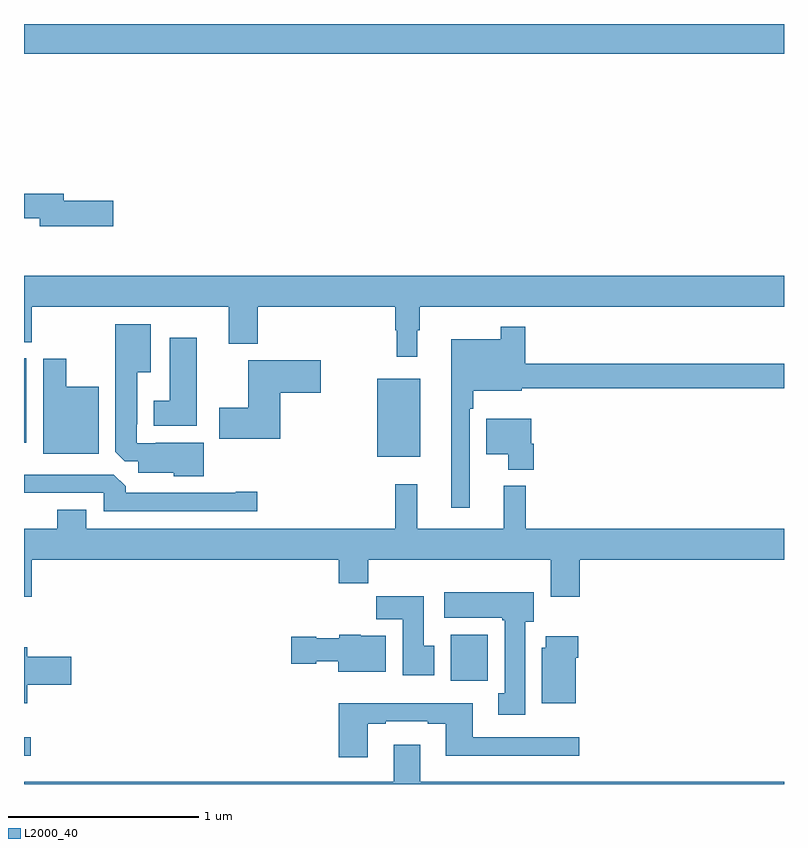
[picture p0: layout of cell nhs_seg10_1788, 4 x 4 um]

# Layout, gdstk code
import gdstk
lib = gdstk.Library(unit=1e-6, precision=1e-09)
def R(c, l, rs):  # rectangles x0, y0, x1, y1
    for r in rs: c.add(gdstk.rectangle(r[:2], r[2:], *l))
def P(c, l, *ps):  # polygons
    for p in ps: c.add(gdstk.Polygon(p, *l))
L2000_40 = (2000, 40)

nhs_seg10_1788 = lib.new_cell('nhs_seg10_1788')
R(nhs_seg10_1788, L2000_40, [(205,1268.648,205.036,1268.745), (207.245,1269.044,207.442,1269.286), (206.858,1270.223,207.085,1270.633), (205,1270.296,205.012,1270.74), (205,1272.344,209,1272.5)])
P(nhs_seg10_1788, L2000_40, [(205.471,1271.57),(205.21,1271.57),(205.21,1271.606),(205,1271.606),(205,1271.478),(205.082,1271.478),(205.082,1271.435),(205.471,1271.435)],
  [(207.07,1270.889),(207.082,1270.889),(207.082,1271.012),(209,1271.012),(209,1271.176),(205,1271.176),(205,1270.825),(205.041,1270.825),(205.041,1271.012),(206.078,1271.012),(206.078,1270.818),(206.231,1270.818),(206.231,1271.012),(206.953,1271.012),(206.953,1270.889),(206.961,1270.889),(206.961,1270.749),(207.07,1270.749)],
  [(205.945,1270.297),(205.693,1270.297),(205.693,1270.293),(205.593,1270.293),(205.593,1270.393),(205.597,1270.393),(205.597,1270.667),(205.666,1270.667),(205.666,1270.921),(205.481,1270.921),(205.481,1270.249),(205.53,1270.2),(205.601,1270.2),(205.601,1270.139),(205.788,1270.139),(205.788,1270.121),(205.945,1270.121)],
  [(207.345,1270.475),(207.365,1270.475),(207.365,1270.571),(207.619,1270.571),(207.619,1270.582),(209,1270.582),(209,1270.711),(207.638,1270.711),(207.638,1270.906),(207.51,1270.906),(207.51,1270.84),(207.248,1270.84),(207.248,1269.954),(207.345,1269.954)],
  [(205.909,1270.849),(205.766,1270.849),(205.766,1270.516),(205.682,1270.516),(205.682,1270.385),(205.909,1270.385)],
  [(205.393,1270.591),(205.222,1270.591),(205.222,1270.738),(205.1,1270.738),(205.1,1270.238),(205.393,1270.238)],
  [(206.348,1270.559),(206.563,1270.559),(206.563,1270.729),(206.18,1270.729),(206.18,1270.479),(206.028,1270.479),(206.028,1270.316),(206.348,1270.316)],
  [(207.683,1270.29),(207.67,1270.29),(207.67,1270.423),(207.434,1270.423),(207.434,1270.235),(207.548,1270.235),(207.548,1270.154),(207.683,1270.154)],
  [(206.227,1270.037),(206.114,1270.037),(206.114,1270.032),(205.535,1270.032),(205.535,1270.066),(205.473,1270.128),(205,1270.128),(205,1270.032),(205.419,1270.032),(205.419,1269.936),(206.227,1269.936)],
  [(205.04,1269.68),(206.657,1269.68),(206.657,1269.556),(206.813,1269.556),(206.813,1269.68),(207.773,1269.68),(207.773,1269.486),(207.926,1269.486),(207.926,1269.68),(209,1269.68),(209,1269.844),(207.641,1269.844),(207.641,1270.069),(207.524,1270.069),(207.524,1269.844),(207.071,1269.844),(207.071,1270.078),(206.953,1270.078),(206.953,1269.844),(205.327,1269.844),(205.327,1269.943),(205.175,1269.943),(205.175,1269.844),(205,1269.844),(205,1269.486),(205.04,1269.486)],
  [(207.637,1269.354),(207.682,1269.354),(207.682,1269.508),(207.213,1269.508),(207.213,1269.374),(207.517,1269.374),(207.517,1269.361),(207.53,1269.361),(207.53,1268.978),(207.497,1268.978),(207.497,1268.865),(207.637,1268.865)],
  [(207.16,1269.228),(207.103,1269.228),(207.103,1269.487),(206.854,1269.487),(206.854,1269.368),(206.993,1269.368),(206.993,1269.072),(207.16,1269.072)],
  [(206.905,1269.28),(206.772,1269.28),(206.772,1269.286),(206.658,1269.286),(206.658,1269.268),(206.538,1269.268),(206.538,1269.276),(206.406,1269.276),(206.406,1269.134),(206.538,1269.134),(206.538,1269.146),(206.654,1269.146),(206.654,1269.092),(206.905,1269.092)],
  [(207.904,1269.164),(207.917,1269.164),(207.917,1269.277),(207.746,1269.277),(207.746,1269.216),(207.725,1269.216),(207.725,1268.924),(207.904,1268.924)],
  [(205.018,1269.023),(205.249,1269.023),(205.249,1269.17),(205.018,1269.17),(205.018,1269.22),(205,1269.22),(205,1268.924),(205.018,1268.924)],
  [(206.809,1268.817),(206.905,1268.817),(206.905,1268.829),(207.125,1268.829),(207.125,1268.817),(207.221,1268.817),(207.221,1268.648),(207.922,1268.648),(207.922,1268.745),(207.361,1268.745),(207.361,1268.926),(206.657,1268.926),(206.657,1268.64),(206.809,1268.64)],
  [(209,1268.512),(207.085,1268.512),(207.085,1268.707),(206.945,1268.707),(206.945,1268.512),(205,1268.512),(205,1268.5),(209,1268.5)])

lib.write_gds('nhs_seg10_1788.gds')
